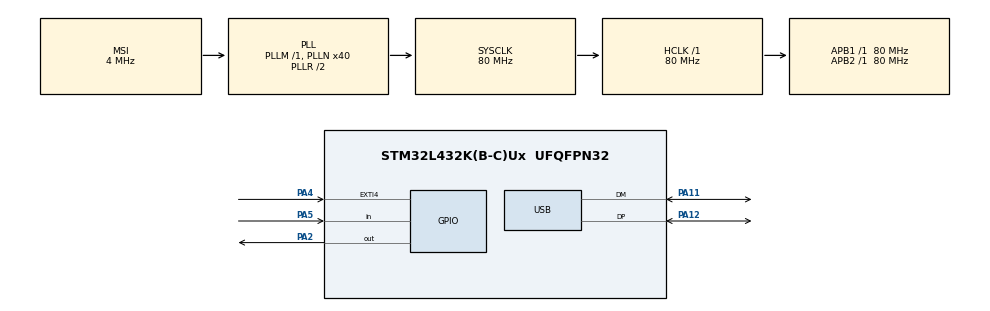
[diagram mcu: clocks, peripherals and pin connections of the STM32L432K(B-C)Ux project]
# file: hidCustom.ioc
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Mcu.Family=STM32L4
Mcu.Name=STM32L432K(B-C)Ux
Mcu.Package=UFQFPN32
NVIC.PriorityGroup=NVIC_PRIORITYGROUP_4
NVIC.RCC_IRQn=true\:0\:0\:false\:false\:true\:true
NVIC.USB_IRQn=true\:0\:0\:false\:false\:true\:false
PA0.Mode=HSE-External-Clock-Source-for-LittleOrca
PA0.Signal=RCC_CK_IN
PA11.Mode=Device
PA11.Signal=USB_DM
PA12.Mode=Device
PA12.Signal=USB_DP
PA2.Signal=GPIO_Output
PA4.Signal=GPXTI4
PA5.Signal=GPIO_Input
PC14-OSC32_IN\ (PC14).Mode=LSE-External-Oscillator
PC14-OSC32_IN\ (PC14).Signal=RCC_OSC32_IN
PC15-OSC32_OUT\ (PC15).Mode=LSE-External-Oscillator
PC15-OSC32_OUT\ (PC15).Signal=RCC_OSC32_OUT
ProjectManager.HeapSize=0x200
ProjectManager.StackSize=0x400
ProjectManager.TargetToolchain=MDK-ARM V5
RCC.ADCFreq_Value=48000000
RCC.AHBFreq_Value=80000000
RCC.APB1Freq_Value=80000000
RCC.APB1TimFreq_Value=80000000
RCC.APB2Freq_Value=80000000
RCC.APB2TimFreq_Value=80000000
RCC.CortexFreq_Value=80000000
RCC.HCLKFreq_Value=80000000
RCC.HSE_VALUE=8000000
RCC.HSI48_VALUE=48000000
RCC.HSI_VALUE=16000000
RCC.MSI_VALUE=4000000
RCC.PLLN=40
RCC.PLLSAI1N=24
RCC.SYSCLKFreq_VALUE=80000000
RCC.SYSCLKSource=RCC_SYSCLKSOURCE_PLLCLK
RCC.USBFreq_Value=48000000
RCC.VCOOutputFreq_Value=160000000
USB_DEVICE.CLASS_NAME_FS=HID
USB_DEVICE.VirtualMode=Hid
USB_DEVICE.VirtualModeFS=Hid_FS
VP_USB_DEVICE_VS_USB_DEVICE_HID_FS.Mode=HID_FS
board=hidCustom

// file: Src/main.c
/**
  ******************************************************************************
  * File Name          : main.c
  * Description        : Main program body
  ******************************************************************************
  * This notice applies to any and all portions of this file
  * that are not between comment pairs USER CODE BEGIN and
  * USER CODE END. Other portions of this file, whether
  * inserted by the user or by software development tools
  * are owned by their respective copyright owners.
  *
  * Copyright (c) 2018 STMicroelectronics International N.V.
  * All rights reserved.
  *
  * Redistribution and use in source and binary forms, with or without
  * modification, are permitted, provided that the following conditions are met:
  *
  * 1. Redistribution of source code must retain the above copyright notice,
  *    this list of conditions and the following disclaimer.
  * 2. Redistributions in binary form must reproduce the above copyright notice,
  *    this list of conditions and the following disclaimer in the documentation
  *    and/or other materials provided with the distribution.
  * 3. Neither the name of STMicroelectronics nor the names of other
  *    contributors to this software may be used to endorse or promote products
  *    derived from this software without specific written permission.
  * 4. This software, including modifications and/or derivative works of this
  *    software, must execute solely and exclusively on microcontroller or
  *    microprocessor devices manufactured by or for STMicroelectronics.
  * 5. Redistribution and use of this software other than as permitted under
  *    this license is void and will automatically terminate your rights under
  *    this license.
  *
  * THIS SOFTWARE IS PROVIDED BY STMICROELECTRONICS AND CONTRIBUTORS "AS IS"
  * AND ANY EXPRESS, IMPLIED OR STATUTORY WARRANTIES, INCLUDING, BUT NOT
  * LIMITED TO, THE IMPLIED WARRANTIES OF MERCHANTABILITY, FITNESS FOR A
  * PARTICULAR PURPOSE AND NON-INFRINGEMENT OF THIRD PARTY INTELLECTUAL PROPERTY
  * RIGHTS ARE DISCLAIMED TO THE FULLEST EXTENT PERMITTED BY LAW. IN NO EVENT
  * SHALL STMICROELECTRONICS OR CONTRIBUTORS BE LIABLE FOR ANY DIRECT, INDIRECT,
  * INCIDENTAL, SPECIAL, EXEMPLARY, OR CONSEQUENTIAL DAMAGES (INCLUDING, BUT NOT
  * LIMITED TO, PROCUREMENT OF SUBSTITUTE GOODS OR SERVICES; LOSS OF USE, DATA,
  * OR PROFITS; OR BUSINESS INTERRUPTION) HOWEVER CAUSED AND ON ANY THEORY OF
  * LIABILITY, WHETHER IN CONTRACT, STRICT LIABILITY, OR TORT (INCLUDING
  * NEGLIGENCE OR OTHERWISE) ARISING IN ANY WAY OUT OF THE USE OF THIS SOFTWARE,
  * EVEN IF ADVISED OF THE POSSIBILITY OF SUCH DAMAGE.
  *
  ******************************************************************************
  */

#include "main.h"
#include "stm32l4xx_hal.h"
#include "usb_device.h"
#include <stdbool.h>

/* USER CODE BEGIN PV */
/* Private variables ---------------------------------------------------------*/
#define USB_HID_SCAN_NEXT 0x01
#define USB_HID_SCAN_PREV 0x02
#define USB_HID_STOP      0x04
#define USB_HID_EJECT     0x08
#define USB_HID_PAUSE     0x10
#define USB_HID_MUTE      0x20
#define USB_HID_VOL_UP    0x40
#define USB_HID_VOL_DEC   0x80

// USB keyboard codes
#define USB_HID_MODIFIER_LEFT_CTRL   0x01
#define USB_HID_MODIFIER_LEFT_SHIFT  0x02
#define USB_HID_MODIFIER_LEFT_ALT    0x04
#define USB_HID_MODIFIER_LEFT_GUI    0x08 // (Win/Apple/Meta)
#define USB_HID_MODIFIER_RIGHT_CTRL  0x10
#define USB_HID_MODIFIER_RIGHT_SHIFT 0x20
#define USB_HID_MODIFIER_RIGHT_ALT   0x40
#define USB_HID_MODIFIER_RIGHT_GUI   0x80

#define KEY_NONE 0x00 // No key pressed
#define KEY_ERR_OVF 0x01 //  Keyboard Error Roll Over - used for all slots if too many keys are pressed ("Phantom key")
// 0x02 //  Keyboard POST Fail
// 0x03 //  Keyboard Error Undefined
#define KEY_A 0x04 // Keyboard a and A
#define KEY_B 0x05 // Keyboard b and B
#define KEY_C 0x06 // Keyboard c and C
#define KEY_D 0x07 // Keyboard d and D
#define KEY_E 0x08 // Keyboard e and E
#define KEY_F 0x09 // Keyboard f and F
#define KEY_G 0x0a // Keyboard g and G
#define KEY_H 0x0b // Keyboard h and H
#define KEY_I 0x0c // Keyboard i and I
#define KEY_J 0x0d // Keyboard j and J
#define KEY_K 0x0e // Keyboard k and K
#define KEY_L 0x0f // Keyboard l and L
#define KEY_M 0x10 // Keyboard m and M
#define KEY_N 0x11 // Keyboard n and N
#define KEY_O 0x12 // Keyboard o and O
#define KEY_P 0x13 // Keyboard p and P
#define KEY_Q 0x14 // Keyboard q and Q
#define KEY_R 0x15 // Keyboard r and R
#define KEY_S 0x16 // Keyboard s and S
#define KEY_T 0x17 // Keyboard t and T
#define KEY_U 0x18 // Keyboard u and U
#define KEY_V 0x19 // Keyboard v and V
#define KEY_W 0x1a // Keyboard w and W
#define KEY_X 0x1b // Keyboard x and X
#define KEY_Y 0x1c // Keyboard y and Y
#define KEY_Z 0x1d // Keyboard z and Z

#define KEY_1 0x1e // Keyboard 1 and !
#define KEY_2 0x1f // Keyboard 2 and @
#define KEY_3 0x20 // Keyboard 3 and #
#define KEY_4 0x21 // Keyboard 4 and $
#define KEY_5 0x22 // Keyboard 5 and %
#define KEY_6 0x23 // Keyboard 6 and ^
#define KEY_7 0x24 // Keyboard 7 and &
#define KEY_8 0x25 // Keyboard 8 and *
#define KEY_9 0x26 // Keyboard 9 and (
#define KEY_0 0x27 // Keyboard 0 and )

#define KEY_ENTER 0x28 // Keyboard Return (ENTER)
#define KEY_ESC 0x29 // Keyboard ESCAPE
#define KEY_BACKSPACE 0x2a // Keyboard DELETE (Backspace)
#define KEY_TAB 0x2b // Keyboard Tab
#define KEY_SPACE 0x2c // Keyboard Spacebar
/* USER CODE END PV */

void SystemClock_Config(void);
static void MX_GPIO_Init(void);

/* USER CODE BEGIN PFP */
/* Private function prototypes -----------------------------------------------*/

/* USER CODE END PFP */

/* USER CODE BEGIN 0 */

  struct keyboardHID_t {
      uint8_t id;
      uint8_t modifiers;
      uint8_t key1;
      uint8_t key2;
      uint8_t key3;
  };

void keyboard(uint8_t modificador, uint8_t letra){
	  struct keyboardHID_t keyboardHID;
  keyboardHID.id = 1;
  keyboardHID.modifiers = modificador;
  keyboardHID.key1 = letra;
  keyboardHID.key2 = 0;
  keyboardHID.key3 = 0;
    USBD_HID_SendReport(&hUsbDeviceFS, &keyboardHID, sizeof(struct keyboardHID_t));
	HAL_Delay(30);

	keyboardHID.id = 1;
  keyboardHID.modifiers = 0;
  keyboardHID.key1 = 0;
  keyboardHID.key2 = 0;
  keyboardHID.key3 = 0;
    USBD_HID_SendReport(&hUsbDeviceFS, &keyboardHID, sizeof(struct keyboardHID_t));
    HAL_Delay(30);

}

/* USER CODE END 0 */

int main(void)
{

  /* USER CODE BEGIN 1 */

  // HID Keyboard

/*  struct keyboardHID_t keyboardHID;
  keyboardHID.id = 1;
  keyboardHID.modifiers = 0;
  keyboardHID.key1 = 0;
  keyboardHID.key2 = 0;
  keyboardHID.key3 = 0;*/
  // HID Media
  struct mediaHID_t {
    uint8_t id;
    uint8_t keys;
  };
  struct mediaHID_t mediaHID;
  mediaHID.id = 2;
  mediaHID.keys = 0;

  /* USER CODE END 1 */

  /* MCU Configuration----------------------------------------------------------*/

  /* Reset of all peripherals, Initializes the Flash interface and the Systick. */
  HAL_Init();

  /* Configure the system clock */
  SystemClock_Config();

  /* Initialize all configured peripherals */
  MX_GPIO_Init();
  MX_USB_DEVICE_Init();

  /* USER CODE BEGIN 2 */
	bool old_value = true;
  /* USER CODE END 2 */

  /* Infinite loop */
  while (1)
  {

  /* USER CODE BEGIN 3 */
		bool value = HAL_GPIO_ReadPin(GPIOA,GPIO_PIN_5);

		if(!value && old_value){
			HAL_GPIO_TogglePin(GPIOA,GPIO_PIN_2);
			keyboard(0x00,KEY_L);
			keyboard(0x00,KEY_L);
			keyboard(0x00,KEY_U);
			keyboard(0x00,KEY_I);
			keyboard(0x00,KEY_S);
			keyboard(0x00,KEY_ENTER);
		}
		old_value = value;

  }
  /* USER CODE END 3 */

}

/** System Clock Configuration
*/
void SystemClock_Config(void)
{

  RCC_OscInitTypeDef RCC_OscInitStruct;
  RCC_ClkInitTypeDef RCC_ClkInitStruct;
  RCC_PeriphCLKInitTypeDef PeriphClkInit;

    /**Configure LSE Drive Capability
    */
  __HAL_RCC_LSEDRIVE_CONFIG(RCC_LSEDRIVE_LOW);

    /**Initializes the CPU, AHB and APB busses clocks
    */
  RCC_OscInitStruct.OscillatorType = RCC_OSCILLATORTYPE_LSE|RCC_OSCILLATORTYPE_MSI;
  RCC_OscInitStruct.LSEState = RCC_LSE_ON;
  RCC_OscInitStruct.MSIState = RCC_MSI_ON;
  RCC_OscInitStruct.MSICalibrationValue = 0;
  RCC_OscInitStruct.MSIClockRange = RCC_MSIRANGE_6;
  RCC_OscInitStruct.PLL.PLLState = RCC_PLL_ON;
  RCC_OscInitStruct.PLL.PLLSource = RCC_PLLSOURCE_MSI;
  RCC_OscInitStruct.PLL.PLLM = 1;
  RCC_OscInitStruct.PLL.PLLN = 40;
  RCC_OscInitStruct.PLL.PLLP = RCC_PLLP_DIV7;
  RCC_OscInitStruct.PLL.PLLQ = RCC_PLLQ_DIV2;
  RCC_OscInitStruct.PLL.PLLR = RCC_PLLR_DIV2;
  if (HAL_RCC_OscConfig(&RCC_OscInitStruct) != HAL_OK)
  {
    _Error_Handler(__FILE__, __LINE__);
  }

    /**Initializes the CPU, AHB and APB busses clocks
    */
  RCC_ClkInitStruct.ClockType = RCC_CLOCKTYPE_HCLK|RCC_CLOCKTYPE_SYSCLK
                              |RCC_CLOCKTYPE_PCLK1|RCC_CLOCKTYPE_PCLK2;
  RCC_ClkInitStruct.SYSCLKSource = RCC_SYSCLKSOURCE_PLLCLK;
  RCC_ClkInitStruct.AHBCLKDivider = RCC_SYSCLK_DIV1;
  RCC_ClkInitStruct.APB1CLKDivider = RCC_HCLK_DIV1;
  RCC_ClkInitStruct.APB2CLKDivider = RCC_HCLK_DIV1;

  if (HAL_RCC_ClockConfig(&RCC_ClkInitStruct, FLASH_LATENCY_4) != HAL_OK)
  {
    _Error_Handler(__FILE__, __LINE__);
  }

  PeriphClkInit.PeriphClockSelection = RCC_PERIPHCLK_USB;
  PeriphClkInit.UsbClockSelection = RCC_USBCLKSOURCE_PLLSAI1;
  PeriphClkInit.PLLSAI1.PLLSAI1Source = RCC_PLLSOURCE_MSI;
  PeriphClkInit.PLLSAI1.PLLSAI1M = 1;
  PeriphClkInit.PLLSAI1.PLLSAI1N = 24;
  PeriphClkInit.PLLSAI1.PLLSAI1P = RCC_PLLP_DIV7;
  PeriphClkInit.PLLSAI1.PLLSAI1Q = RCC_PLLQ_DIV2;
  PeriphClkInit.PLLSAI1.PLLSAI1R = RCC_PLLR_DIV2;
  PeriphClkInit.PLLSAI1.PLLSAI1ClockOut = RCC_PLLSAI1_48M2CLK;
  if (HAL_RCCEx_PeriphCLKConfig(&PeriphClkInit) != HAL_OK)
  {
    _Error_Handler(__FILE__, __LINE__);
  }

    /**Configure the main internal regulator output voltage
    */
  if (HAL_PWREx_ControlVoltageScaling(PWR_REGULATOR_VOLTAGE_SCALE1) != HAL_OK)
  {
    _Error_Handler(__FILE__, __LINE__);
  }

    /**Configure the Systick interrupt time
    */
  HAL_SYSTICK_Config(HAL_RCC_GetHCLKFreq()/1000);

    /**Configure the Systick
    */
  HAL_SYSTICK_CLKSourceConfig(SYSTICK_CLKSOURCE_HCLK);

    /**Enable MSI Auto calibration
    */
  HAL_RCCEx_EnableMSIPLLMode();

  /* SysTick_IRQn interrupt configuration */
  HAL_NVIC_SetPriority(SysTick_IRQn, 0, 0);
}

/** Configure pins as
        * Analog
        * Input
        * Output
        * EVENT_OUT
        * EXTI
*/
static void MX_GPIO_Init(void)
{

  GPIO_InitTypeDef GPIO_InitStruct;

  /* GPIO Ports Clock Enable */
  __HAL_RCC_GPIOC_CLK_ENABLE();
  __HAL_RCC_GPIOA_CLK_ENABLE();

  /*Configure GPIO pin Output Level */
  HAL_GPIO_WritePin(GPIOA, GPIO_PIN_2, GPIO_PIN_RESET);

  /*Configure GPIO pin : PA2 */
  GPIO_InitStruct.Pin = GPIO_PIN_2;
  GPIO_InitStruct.Mode = GPIO_MODE_OUTPUT_PP;
  GPIO_InitStruct.Pull = GPIO_NOPULL;
  GPIO_InitStruct.Speed = GPIO_SPEED_FREQ_LOW;
  HAL_GPIO_Init(GPIOA, &GPIO_InitStruct);

  /*Configure GPIO pin : PA4 */
  GPIO_InitStruct.Pin = GPIO_PIN_4;
  GPIO_InitStruct.Mode = GPIO_MODE_IT_RISING;
  GPIO_InitStruct.Pull = GPIO_NOPULL;
  HAL_GPIO_Init(GPIOA, &GPIO_InitStruct);

  /*Configure GPIO pin : PA5 */
  GPIO_InitStruct.Pin = GPIO_PIN_5;
  GPIO_InitStruct.Mode = GPIO_MODE_INPUT;
  GPIO_InitStruct.Pull = GPIO_PULLUP;
  HAL_GPIO_Init(GPIOA, &GPIO_InitStruct);

}

void _Error_Handler(char * file, int line)
{
  while(1)
  {
  }
}

/************************ (C) COPYRIGHT STMicroelectronics *****END OF FILE****/
